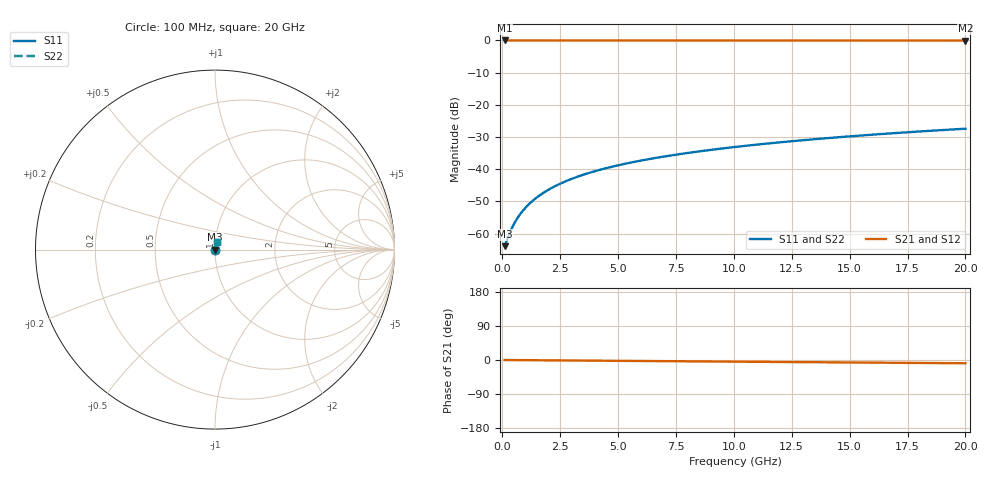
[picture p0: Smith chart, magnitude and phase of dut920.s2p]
! Touchstone file exported from HFSS 2026.1.0
!  File:  C:/ffzhzh/LocalFiles/Ansys_Project_Files/temp_train_TSV_920_1783186576_51560.aedt
!  Generated:  01:39:01 AM Jul  5, 2026
!  Design:  TSV
!  Project:  temp_train_TSV_920_1783186576_51560
! Variables:
!  h_bsmrdl = 2um
!  h_ox = 20um
!  h_rdl = 5um
!  h_sub = 87.62um
!  h_tmrdl = 5um
!  h_tsv = 87.62um
!  h_via = 3um
!  l_bsmrdl = 300um
!  l_sub = 408.54um
!  l_tmrdl = 200um
!  m_sub = 200um
!  pitch = 26.2um
!  r_tsv = 4.27um
!  s_tmrdl = 10um
!  w_bsmrdl = 18um
!  w_sub = 500um
!  w_tmrdl = 12um
!  x_tsv_center1 = 206um
!  x_tsv_center2 = 524um
!  x_tsv_center3 = 736um
!  x_tsv_center4 = 1054um
!  x_tsv_center5 = 1266um
!  x_tsv_center6 = 1584um
# GHz S MA R 50.000000
! Terminal data exported
! Port[1] = TSV1_1_T1
! Port[2] = TSV1_1_T2
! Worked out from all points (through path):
!   200 points, 100 MHz to 20 GHz, reference 50 ohm
!   highest |S21| = -0.01 dB at 100 MHz (marker M1); lowest = 0.0 dB at 20 GHz (marker M2)
!   group delay of S21, straight-line fit = 1.2 ps
!   lowest |S11| = -63.9 dB at 100 MHz (marker M3), VSWR 1.00, Z = 50.1 + j0.0261 ohm
!   |S11| at or under -10 dB: start of sweep to end of sweep
!   |S22| runs from -63.9 to -27.4 dB; largest |S21 - S12| = 5.2e-15
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0.1  0.0006361 24.2  0.9994 -0.0  0.9994 -0.0  0.0006361 24.2
! Gamma 0 0 0 0
! Port Impedance 50 0 50 0
0.3  0.0009781 51.1  0.9994 -0.1  0.9994 -0.1  0.0009781 51.1
0.4  0.001185 57.8  0.9994 -0.2  0.9994 -0.2  0.001185 57.8
0.5  0.001399 62.3  0.9994 -0.2  0.9994 -0.2  0.001399 62.3
0.6  0.001617 65.7  0.9993 -0.3  0.9993 -0.3  0.001617 65.7
0.7  0.001838 68.3  0.9993 -0.3  0.9993 -0.3  0.001838 68.3
0.9  0.002287 72.0  0.9993 -0.4  0.9993 -0.4  0.002287 72.0
1.2  0.002969 75.3  0.9993 -0.5  0.9993 -0.5  0.002969 75.3
1.4  0.003428 76.8  0.9992 -0.6  0.9992 -0.6  0.003428 76.8
1.7  0.004117 78.2  0.9992 -0.8  0.9992 -0.8  0.004117 78.2
2.2  0.005264 79.7  0.9991 -1.0  0.9991 -1.0  0.005264 79.7
2.8  0.006628 80.5  0.999 -1.2  0.999 -1.2  0.006628 80.5
3.5  0.008197 80.9  0.9989 -1.6  0.9989 -1.6  0.008197 80.9
4.2  0.009742 81.1  0.9988 -1.9  0.9988 -1.9  0.009742 81.1
5  0.01148 81.2  0.9986 -2.2  0.9986 -2.2  0.01148 81.2
5.9  0.01341 81.1  0.9984 -2.6  0.9984 -2.6  0.01341 81.1
6.8  0.01532 81.0  0.9983 -3.0  0.9983 -3.0  0.01532 81.0
8.3  0.01847 80.8  0.998 -3.6  0.998 -3.6  0.01847 80.8
10.1  0.02222 80.5  0.9978 -4.4  0.9978 -4.4  0.02222 80.5
13.4  0.02905 79.7  0.9973 -5.8  0.9973 -5.8  0.02905 79.7
16.7  0.03583 78.7  0.9969 -7.2  0.9969 -7.2  0.03583 78.7
20  0.04254 77.6  0.9963 -8.6  0.9963 -8.6  0.04254 77.6
